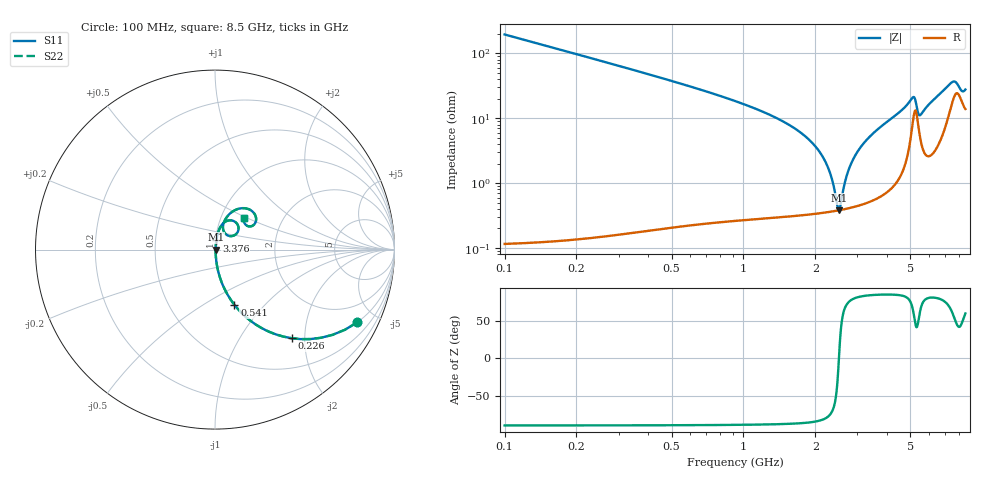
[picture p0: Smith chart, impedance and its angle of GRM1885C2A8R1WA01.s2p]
!Murata Part Number: GRM1885C2A8R1WA01
!These Parameters are Measured in Series Mode Connection
!Data Generated on Mar 30, 2021
!  o--ll--o
!Port1  Port2
!  o------o
!Operation Temp=25[degC], DC Bias Voltage=0[V]
!Freq. Start=100[MHz] Stop=9[GHz] 401[Steps]
# Hz S RI R 50
!Freq.(Hz) S11(Real) S11(Imag) S21(Real) S21(Imag) S12(Real) S12(Imag) S22(Real) S22(Imag)
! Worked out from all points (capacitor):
!   401 points, 100 MHz to 8.5 GHz, reference 50 ohm
!   read as one part in series: C = 8.1 pF near 142 MHz
!   lowest |Z| = 383 mohm at 2.515 GHz (marker M1)
!   series resonance near 2.511 GHz, so ESL is about 500 pH
!   S11 on the Smith chart (normalised r, x): 100 MHz: 1.00, -3.92; 226 MHz: 1.00, -1.72; 541 MHz: 1.00, -0.69; 3.376 GHz: 1.01, +0.10; 8.5 GHz: 1.28, +0.48
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1e8  0.7936 -0.4044  0.2064 0.4044  0.2064 0.4044  0.7936 -0.4044
2.26e8  0.4264 -0.4937  0.5736 0.4937  0.5736 0.4937  0.4264 -0.4937
3.52e8  0.2309 -0.4199  0.7691 0.4199  0.7691 0.4199  0.2309 -0.4199
5.41e8  0.1085 -0.308  0.8915 0.308  0.8915 0.308  0.1085 -0.308
1.507e9  0.01 -0.0833  0.99 0.0833  0.99 0.0833  0.01 -0.0833
1.885e9  0.00541 -0.0461  0.9946 0.0461  0.9946 0.0461  0.00541 -0.0461
2.158e9  0.00407 -0.0244  0.9959 0.0244  0.9959 0.0244  0.00407 -0.0244
2.305e9  0.00379 -0.0138  0.9962 0.0138  0.9962 0.0138  0.00379 -0.0138
2.473e9  0.00377 -0.00248  0.9962 0.00248  0.9962 0.00248  0.00377 -0.00248
2.515e9  0.0038 0.000255  0.9962 -0.000255  0.9962 -0.000255  0.0038 0.000255
2.704e9  0.00416 0.0121  0.9958 -0.0121  0.9958 -0.0121  0.00416 0.0121
2.914e9  0.0049 0.0247  0.9951 -0.0247  0.9951 -0.0247  0.0049 0.0247
3.376e9  0.00774 0.051  0.9923 -0.051  0.9923 -0.051  0.00774 0.051
4.3e9  0.0206 0.1052  0.9794 -0.1052  0.9794 -0.1052  0.0206 0.1052
5.119e9  0.1078 0.1573  0.8922 -0.1573  0.8922 -0.1573  0.1078 0.1573
5.224e9  0.1313 0.1174  0.8687 -0.1174  0.8687 -0.1174  0.1313 0.1174
5.434e9  0.0681 0.0803  0.9319 -0.0803  0.9319 -0.0803  0.0681 0.0803
5.707e9  0.0443 0.1208  0.9557 -0.1208  0.9557 -0.1208  0.0443 0.1208
7.114e9  0.1431 0.23  0.8569 -0.23  0.8569 -0.23  0.1431 0.23
7.723e9  0.229 0.1738  0.771 -0.1738  0.771 -0.1738  0.229 0.1738
8.185e9  0.1783 0.1329  0.8217 -0.1329  0.8217 -0.1329  0.1783 0.1329
8.5e9  0.1596 0.1774  0.8404 -0.1774  0.8404 -0.1774  0.1596 0.1774
